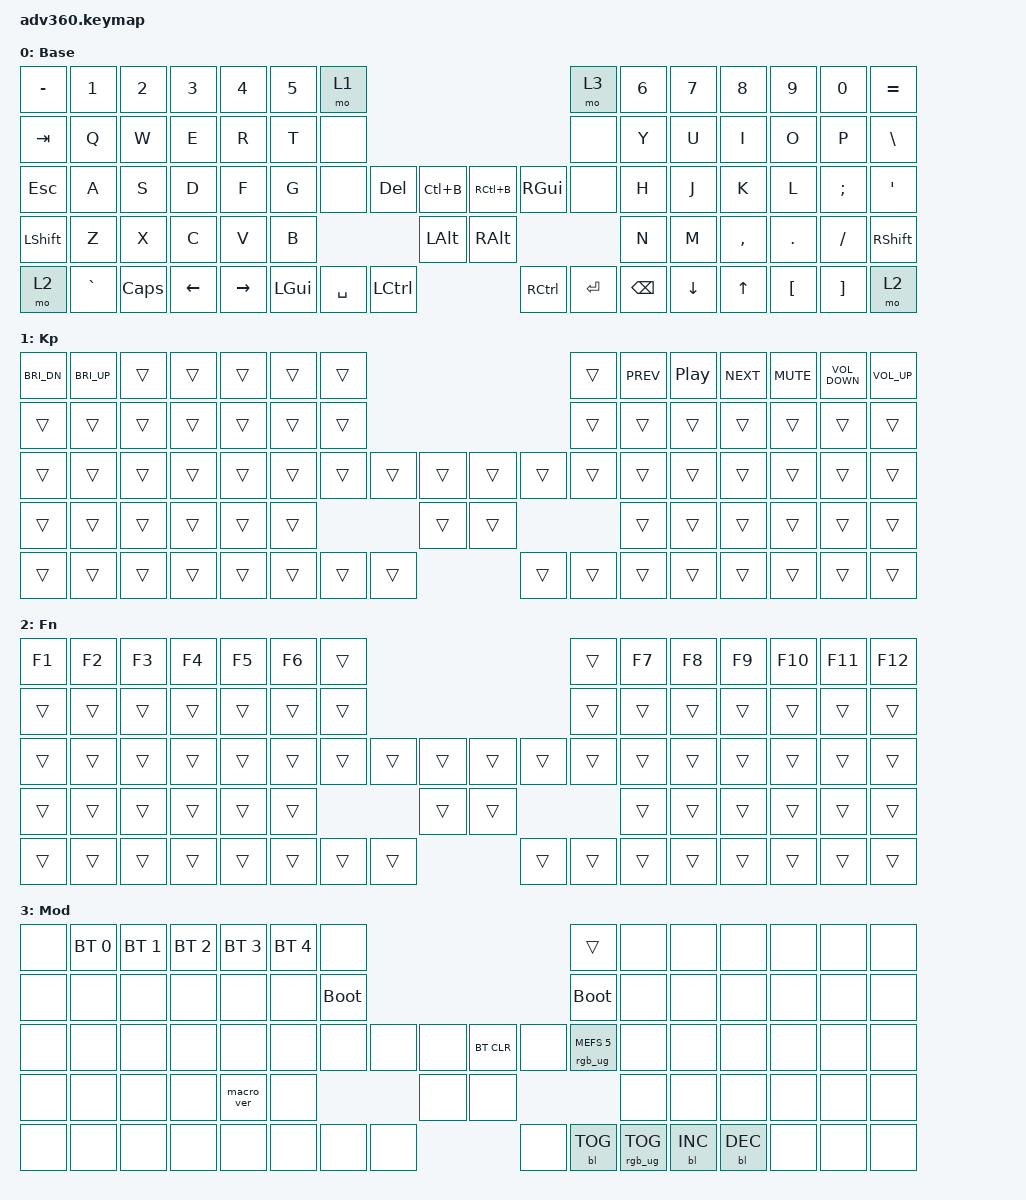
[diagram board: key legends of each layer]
#include <behaviors.dtsi>
#include <dt-bindings/zmk/keys.h>
#include <dt-bindings/zmk/bt.h>
#include <dt-bindings/zmk/rgb.h>
#include <dt-bindings/zmk/stp.h>
#include <dt-bindings/zmk/backlight.h>
#include <dt-bindings/zmk/pointing.h>

/ {
  behaviors {
    #include "macros.dtsi"
    #include "version.dtsi"

    hm: homerow_mods {
      compatible = "zmk,behavior-hold-tap";
      label = "HOMEROW_MODS";
      #binding-cells = <2>;
      tapping-term-ms = <200>;
      quick_tap_ms = <175>;
      flavor = "tap-preferred";
      bindings = <&kp>, <&kp>;
    };
  };

  keymap {
    compatible = "zmk,keymap";

    default_layer {
      display-name = "Base";
      bindings = <
        &kp MINUS   &kp N1      &kp N2     &kp N3     &kp N4      &kp N5   &mo 1                                                                         &mo 3   &kp N6   &kp N7     &kp N8      &kp N9     &kp N0     &kp EQUAL
        &kp TAB     &kp Q       &kp W      &kp E      &kp R       &kp T    &none                                                                         &none   &kp Y    &kp U      &kp I       &kp O      &kp P      &kp BSLH
        &kp ESC     &kp A       &kp S      &kp D      &kp F       &kp G    &none              &kp DEL     &kp LC(B)   &kp RC(B)   &kp RGUI               &none   &kp H    &kp J      &kp K       &kp L      &kp SEMI   &kp SQT
        &kp LSHFT   &kp Z       &kp X      &kp C      &kp V       &kp B                                   &kp LALT    &kp RALT                                   &kp N    &kp M      &kp COMMA   &kp DOT    &kp FSLH   &kp RSHIFT
        &mo 2       &kp GRAVE   &kp CAPS   &kp LEFT   &kp RIGHT                    &kp LGUI   &kp SPACE   &kp LCTRL   &kp RCTRL   &kp ENTER   &kp BSPC                    &kp DOWN   &kp UP      &kp LBKT   &kp RBKT   &mo 2
      >;
    };

    keypad {
      display-name = "Kp";
      bindings = <
        &kp C_BRI_DN   &kp C_BRI_UP   &trans   &trans   &trans   &trans   &trans                                                         &trans   &kp C_PREV   &kp C_PLAY_PAUSE   &kp C_NEXT   &kp C_MUTE   &kp C_VOLUME_DOWN   &kp C_VOLUME_UP
        &trans         &trans         &trans   &trans   &trans   &trans   &trans                                                         &trans   &trans       &trans             &trans       &trans       &trans              &trans
        &trans         &trans         &trans   &trans   &trans   &trans   &trans            &trans   &trans   &trans   &trans            &trans   &trans       &trans             &trans       &trans       &trans              &trans
        &trans         &trans         &trans   &trans   &trans   &trans                              &trans   &trans                              &trans       &trans             &trans       &trans       &trans              &trans
        &trans         &trans         &trans   &trans   &trans                     &trans   &trans   &trans   &trans   &trans   &trans                         &trans             &trans       &trans       &trans              &trans
      >;
    };

    fn {
      display-name = "Fn";
      bindings = <
        &kp F1   &kp F2   &kp F3   &kp F4   &kp F5   &kp F6   &trans                                                         &trans   &kp F7   &kp F8   &kp F9   &kp F10   &kp F11   &kp F12
        &trans   &trans   &trans   &trans   &trans   &trans   &trans                                                         &trans   &trans   &trans   &trans   &trans    &trans    &trans
        &trans   &trans   &trans   &trans   &trans   &trans   &trans            &trans   &trans   &trans   &trans            &trans   &trans   &trans   &trans   &trans    &trans    &trans
        &trans   &trans   &trans   &trans   &trans   &trans                              &trans   &trans                              &trans   &trans   &trans   &trans    &trans    &trans
        &trans   &trans   &trans   &trans   &trans                     &trans   &trans   &trans   &trans   &trans   &trans                     &trans   &trans   &trans    &trans    &trans
      >;
    };

    mod {
      display-name = "Mod";
      bindings = <
        &none   &bt BT_SEL 0   &bt BT_SEL 1   &bt BT_SEL 2   &bt BT_SEL 3   &bt BT_SEL 4   &none                                                                             &trans                   &none   &none        &none        &none   &none   &none
        &none   &none          &none          &none          &none          &none          &bootloader                                                                       &bootloader              &none   &none        &none        &none   &none   &none
        &none   &none          &none          &none          &none          &none          &none                 &none   &none   &bt BT_CLR   &none                          &rgb_ug RGB_MEFS_CMD 5   &none   &none        &none        &none   &none   &none
        &none   &none          &none          &none          &macro_ver     &none                                        &none   &none                                                                &none   &none        &none        &none   &none   &none
        &none   &none          &none          &none          &none                                       &none   &none   &none   &none        &bl BL_TOG   &rgb_ug RGB_TOG                                    &bl BL_INC   &bl BL_DEC   &none   &none   &none
      >;
    };

    extra1 {
      display-name = "Red";
      status = "reserved";
    };

    extra2 {
      display-name = "Purple";
      status = "reserved";
    };

    extra3 {
      display-name = "Cyan";
      status = "reserved";
    };

    extra4 {
      display-name = "Yellow";
      status = "reserved";
    };
  };
};
